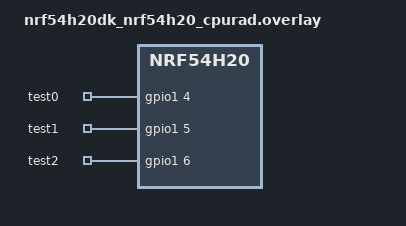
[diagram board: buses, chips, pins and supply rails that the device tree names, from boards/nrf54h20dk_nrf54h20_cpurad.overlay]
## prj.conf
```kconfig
CONFIG_PRINTK=y
CONFIG_LOG=y
CONFIG_PM=y
CONFIG_POWEROFF=y
CONFIG_PM_DEVICE=y
CONFIG_PM_DEVICE_RUNTIME=y
CONFIG_SPEED_OPTIMIZATIONS=y
CONFIG_GPIO=y
```

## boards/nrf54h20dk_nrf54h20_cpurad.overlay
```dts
/*
 * Copyright (c) 2025 Nordic Semiconductor ASA
 *
 * SPDX-License-Identifier: LicenseRef-Nordic-5-Clause
 */

/ {
	test_gpio {
		compatible = "gpio-keys";
		test0: test0 {
			gpios = <&gpio1 4 GPIO_ACTIVE_HIGH>;
		};
		test1: test1 {
			gpios = <&gpio1 5 GPIO_ACTIVE_HIGH>;
		};
		test2: test2 {
			gpios = <&gpio1 6 GPIO_ACTIVE_HIGH>;
		};
	};
};
```

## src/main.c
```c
/*
 * Copyright (c) 2024 Nordic Semiconductor ASA
 *
 * SPDX-License-Identifier: LicenseRef-Nordic-5-Clause
 */

#include <zephyr/kernel.h>

int main(void)
{
	return 0;
}
```
